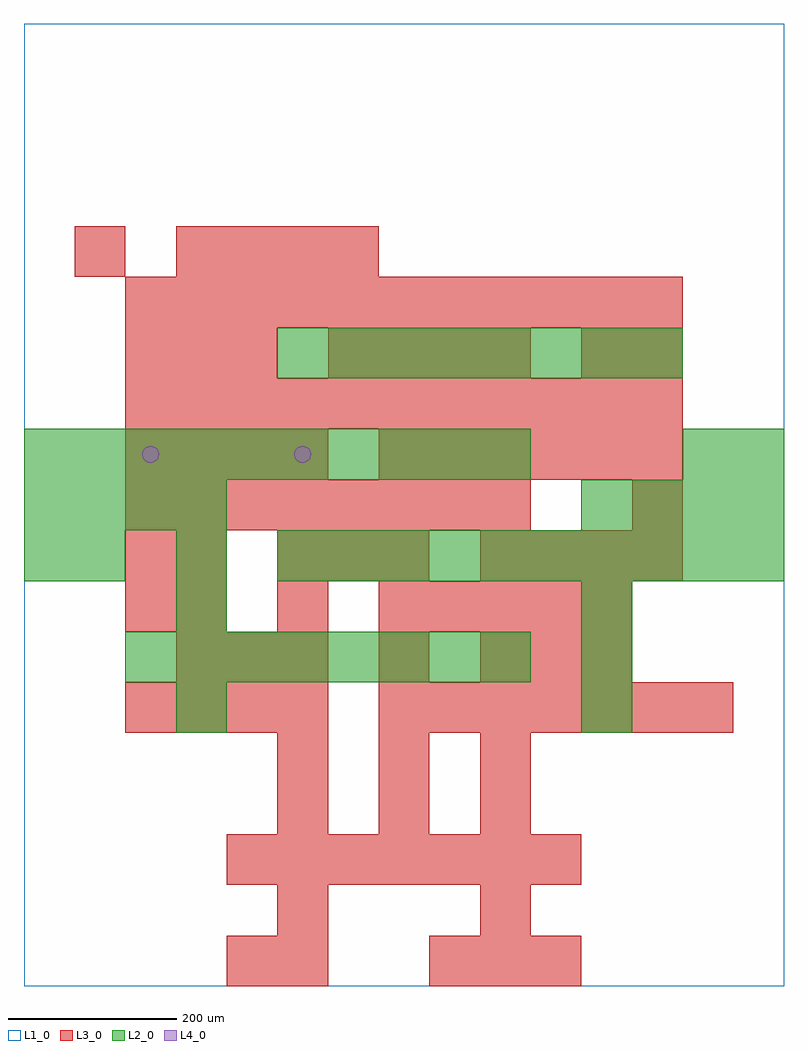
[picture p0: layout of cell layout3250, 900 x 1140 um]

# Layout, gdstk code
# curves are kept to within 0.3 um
import gdstk
lib = gdstk.Library(unit=1e-6, precision=1e-09)
def R(c, l, rs):  # rectangles x0, y0, x1, y1
    for r in rs: c.add(gdstk.rectangle(r[:2], r[2:], *l))
def A(c, l, x, y, w, h, nx, ny, dx, dy):  # array of equal rectangles
    R(c, l, [(x+i*dx, y+j*dy, x+i*dx+w, y+j*dy+h) for i in range(nx) for j in range(ny)])
def P(c, l, *ps):  # polygons
    for p in ps: c.add(gdstk.Polygon(p, *l))
L1_0 = (1, 0)
L2_0 = (2, 0)
L3_0 = (3, 0)
L4_0 = (4, 0)

layout3250 = lib.new_cell('layout3250')
R(layout3250, L1_0, [(0,0,900,1140)])
A(layout3250, L2_0, 660, 300, 60, 60, 1, 3, 0, 60)
A(layout3250, L2_0, 120, 360, 60, 60, 8, 1, 60, 0)
A(layout3250, L2_0, 60, 480, 60, 60, 3, 1, 120, 0)
A(layout3250, L2_0, 360, 480, 60, 60, 9, 1, 60, 0)
A(layout3250, L2_0, 0, 540, 60, 60, 4, 1, 60, 0)
A(layout3250, L2_0, 660, 540, 60, 60, 4, 1, 60, 0)
A(layout3250, L2_0, 0, 600, 60, 60, 10, 1, 60, 0)
A(layout3250, L2_0, 300, 720, 60, 60, 8, 1, 60, 0)
R(layout3250, L2_0, [(180,300,240,360), (180,420,240,480), (0,480,60,540), (780,600,840,660), (840,600,900,660)])
A(layout3250, L3_0, 480, 0, 60, 60, 3, 1, 60, 0)
A(layout3250, L3_0, 240, 120, 60, 60, 7, 1, 60, 0)
A(layout3250, L3_0, 300, 180, 60, 60, 3, 2, 120, 60)
A(layout3250, L3_0, 120, 300, 60, 60, 4, 2, 60, 300)
A(layout3250, L3_0, 420, 300, 60, 60, 7, 1, 60, 0)
A(layout3250, L3_0, 180, 360, 60, 60, 3, 1, 60, 0)
A(layout3250, L3_0, 540, 360, 60, 60, 3, 1, 60, 0)
A(layout3250, L3_0, 180, 420, 60, 60, 3, 1, 120, 0)
A(layout3250, L3_0, 480, 420, 60, 60, 4, 1, 60, 0)
A(layout3250, L3_0, 300, 480, 60, 60, 3, 1, 60, 0)
A(layout3250, L3_0, 540, 480, 60, 60, 4, 1, 60, 0)
A(layout3250, L3_0, 120, 540, 60, 60, 8, 1, 60, 0)
A(layout3250, L3_0, 420, 600, 60, 60, 6, 1, 60, 0)
A(layout3250, L3_0, 120, 660, 60, 60, 11, 2, 60, 120)
A(layout3250, L3_0, 120, 720, 60, 60, 3, 1, 60, 0)
A(layout3250, L3_0, 360, 720, 60, 60, 4, 1, 60, 0)
A(layout3250, L3_0, 180, 840, 60, 60, 4, 1, 60, 0)
R(layout3250, L3_0, [(240,0,300,60), (300,0,360,60), (300,60,360,120), (540,60,600,120), (420,360,480,420), (120,420,180,480), (120,480,180,540), (180,480,240,540), (720,540,780,600), (660,720,720,780), (720,720,780,780), (60,840,120,900)])
P(layout3250, L4_0, [(160,630),(159.239,633.827),(157.071,637.071),(153.827,639.239),(150,640),(146.173,639.239),(142.929,637.071),(140.761,633.827),(140,630),(140.761,626.173),(142.929,622.929),(146.173,620.761),(150,620),(153.827,620.761),(157.071,622.929),(159.239,626.173)],
  [(340,630),(339.239,633.827),(337.071,637.071),(333.827,639.239),(330,640),(326.173,639.239),(322.929,637.071),(320.761,633.827),(320,630),(320.761,626.173),(322.929,622.929),(326.173,620.761),(330,620),(333.827,620.761),(337.071,622.929),(339.239,626.173)])

lib.write_gds('layout3250.gds')
